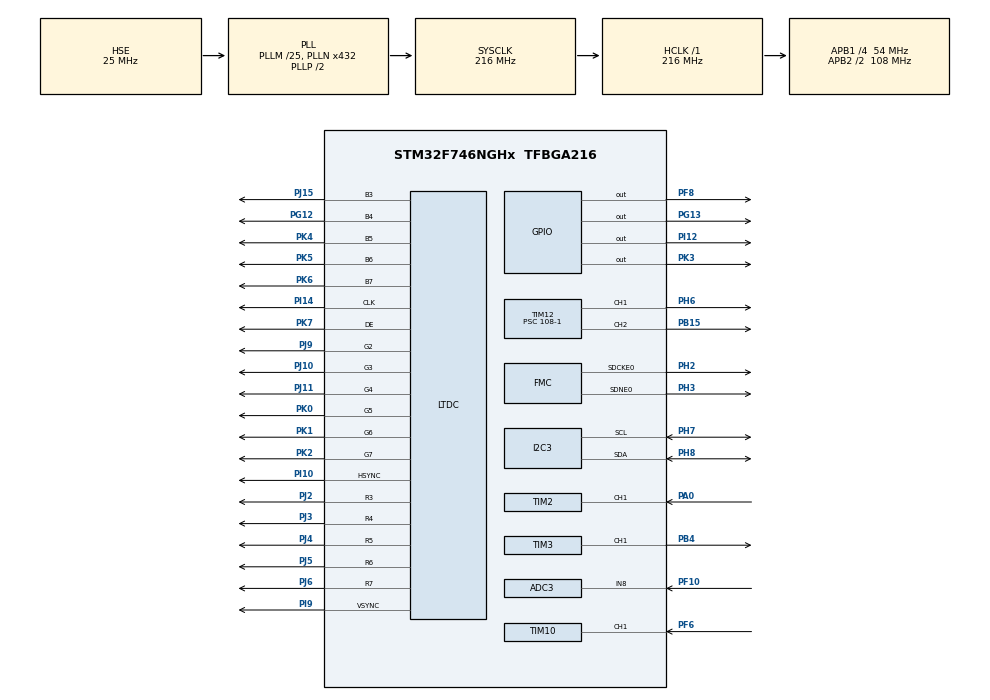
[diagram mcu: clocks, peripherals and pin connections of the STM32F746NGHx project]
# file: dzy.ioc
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ADC3.Channel-0\#ChannelRegularConversion=ADC_CHANNEL_8
ADC3.ExternalTrigConv=ADC_EXTERNALTRIGCONV_T1_CC1
ADC3.NbrOfConversionFlag=1
ADC3.Rank-0\#ChannelRegularConversion=1
ADC3.SamplingTime-0\#ChannelRegularConversion=ADC_SAMPLETIME_3CYCLES
GRAPHICS.BSP.number=1
GRAPHICS.Check_OTM8009A_PixelFormat-STemWin=1
GRAPHICS.DMA2D_Graphics-STemWin=0
GRAPHICS.EA_1_Apptype=Window
GRAPHICS.EA_1_executable_name-STemWin=GUIBuilder.exe
GRAPHICS.GUI_NUM_LAYERS-STemWin=1
GRAPHICS.GUI_Num_KBYTES=10
GRAPHICS.LIN_Color_Conversion_Layer0=GUICC_M565
GRAPHICS.LIN_Frame_Buffer_Depth_Layer0-STemWin=16
GRAPHICS.OPTIM_OS_use-STemWin=4
GRAPHICS.USE_Embedded_Wizard-STemWin=0
GRAPHICS.USE_STTouchGFX-STemWin=0
GRAPHICS.UseGUIBuilder=Enabled
GRAPHICS.Use_SDRAM-STemWin=SDRAM1_BANK1
GRAPHICS0.BSP.STBoard=false
GRAPHICS0.BSP.api=Unknown
GRAPHICS0.BSP.i2caddr=0
GRAPHICS0.BSP.instance=PG13
GRAPHICS0.BSP.ip=GPIO
GRAPHICS0.BSP.mode=Output
GRAPHICS0.BSP.name=LCD Reset Pin XRES
GRAPHICS0.BSP.solution=PG13
I2C3.Timing=0x20404768
LTDC.ActiveH=272
LTDC.ActiveW=480
LTDC.Alpha_L0=255
LTDC.FBStartAdress_L0=0x20010400
LTDC.HBP=43
LTDC.HFP=8
LTDC.HSync=1
LTDC.ImageHeight_L0=272
LTDC.ImageWidth_L0=480
LTDC.Layers=0
LTDC.PixelFormat_L0=LTDC_PIXEL_FORMAT_RGB565
LTDC.VBP=12
LTDC.VFP=4
LTDC.VSync=10
LTDC.WindowX1_L0=480
LTDC.WindowY1_L0=272
Mcu.Family=STM32F7
Mcu.Name=STM32F746NGHx
Mcu.Package=TFBGA216
NVIC.ADC_IRQn=true\:3\:0\:true\:false\:true\:true\:true
NVIC.PriorityGroup=NVIC_PRIORITYGROUP_4
NVIC.TIM1_UP_TIM10_IRQn=true\:0\:0\:false\:false\:true\:true\:true
NVIC.TIM2_IRQn=true\:0\:0\:true\:false\:true\:true\:true
NVIC.TIM5_IRQn=true\:0\:0\:false\:false\:true\:true\:true
PA0/WKUP.Signal=S_TIM2_CH1_ETR
PA13.Mode=Trace_Asynchronous_SW
PA13.Signal=SYS_JTMS-SWDIO
PA14.Mode=Trace_Asynchronous_SW
PA14.Signal=SYS_JTCK-SWCLK
PB15.Signal=S_TIM12_CH2
PB3.Mode=Trace_Asynchronous_SW
PB3.Signal=SYS_JTDO-SWO
PB4.Signal=S_TIM3_CH1
PF10.Mode=IN8
PF10.Signal=ADC3_IN8
PF6.GPIO_PuPd=GPIO_NOPULL
PF6.Signal=S_TIM10_CH1
PF8.GPIO_PuPd=GPIO_PULLUP
PF8.PinState=GPIO_PIN_SET
PF8.Signal=GPIO_Output
PG12.Mode=RGB565
PG12.Signal=LTDC_B4
PG13.Signal=GPIO_Output
PH0/OSC_IN.Mode=HSE-External-Oscillator
PH0/OSC_IN.Signal=RCC_OSC_IN
PH1/OSC_OUT.Mode=HSE-External-Oscillator
PH1/OSC_OUT.Signal=RCC_OSC_OUT
PH2.Mode=SdramChipSelect1_1
PH2.Signal=FMC_SDCKE0
PH3.Mode=SdramChipSelect1_1
PH3.Signal=FMC_SDNE0
PH6.Signal=S_TIM12_CH1
PH7.Mode=I2C
PH7.Signal=I2C3_SCL
PH8.Mode=I2C
PH8.Signal=I2C3_SDA
PI10.Mode=RGB565
PI10.Signal=LTDC_HSYNC
PI12.PinState=GPIO_PIN_SET
PI12.Signal=GPIO_Output
PI14.Mode=RGB565
PI14.Signal=LTDC_CLK
PI9.Mode=RGB565
PI9.Signal=LTDC_VSYNC
PJ10.Mode=RGB565
PJ10.Signal=LTDC_G3
PJ11.Mode=RGB565
PJ11.Signal=LTDC_G4
PJ15.Mode=RGB565
PJ15.Signal=LTDC_B3
PJ2.Mode=RGB565
PJ2.Signal=LTDC_R3
PJ3.Mode=RGB565
PJ3.Signal=LTDC_R4
PJ4.Mode=RGB565
PJ4.Signal=LTDC_R5
PJ5.Mode=RGB565
PJ5.Signal=LTDC_R6
PJ6.Mode=RGB565
PJ6.Signal=LTDC_R7
PJ9.Mode=RGB565
PJ9.Signal=LTDC_G2
PK0.Mode=RGB565
PK0.Signal=LTDC_G5
PK1.Mode=RGB565
PK1.Signal=LTDC_G6
PK2.Mode=RGB565
PK2.Signal=LTDC_G7
PK3.PinState=GPIO_PIN_SET
PK3.Signal=GPIO_Output
PK4.Mode=RGB565
PK4.Signal=LTDC_B5
PK5.Mode=RGB565
PK5.Signal=LTDC_B6
PK6.Mode=RGB565
PK6.Signal=LTDC_B7
PK7.Mode=RGB565
PK7.Signal=LTDC_DE
ProjectManager.HeapSize=0x1000
ProjectManager.StackSize=0x1000
ProjectManager.TargetToolchain=EWARM V8
RCC.AHBFreq_Value=216000000
RCC.APB1CLKDivider=RCC_HCLK_DIV4
RCC.APB1Freq_Value=54000000
RCC.APB1TimFreq_Value=108000000
RCC.APB2CLKDivider=RCC_HCLK_DIV2
RCC.APB2Freq_Value=108000000
RCC.APB2TimFreq_Value=216000000
RCC.CortexFreq_Value=216000000
RCC.HCLKFreq_Value=216000000
RCC.HSE_VALUE=25000000
RCC.HSI_VALUE=16000000
RCC.LSE_VALUE=32768
RCC.PLLM=25
RCC.PLLN=432
RCC.PLLSAIN=100
RCC.PLLSAIR=5
RCC.PLLSourceVirtual=RCC_PLLSOURCE_HSE
RCC.SYSCLKFreq_VALUE=216000000
RCC.SYSCLKSource=RCC_SYSCLKSOURCE_PLLCLK
RCC.USBFreq_Value=216000000
RCC.VCOOutputFreq_Value=432000000
RTC.Format=RTC_FORMAT_BIN
SH.S_TIM10_CH1.0=TIM10_CH1,Input_Capture1_from_TI1
SH.S_TIM12_CH1.0=TIM12_CH1,PWM Generation1 CH1
SH.S_TIM12_CH2.0=TIM12_CH2,PWM Generation2 CH2
SH.S_TIM2_CH1_ETR.0=TIM2_CH1,Input_Capture1_from_TI1
SH.S_TIM2_CH1_ETR.1=TIM2_CH1,Input_Capture2_from_TI1
SH.S_TIM2_CH1_ETR.2=TIM2_CH1,TriggerSource_TI1FP1
SH.S_TIM3_CH1.0=TIM3_CH1,PWM Generation1 CH1
TIM1.Channel-PWM\ Generation1\ No\ Output=TIM_CHANNEL_1
TIM1.Period=1000-1
TIM1.Prescaler=108-1
TIM1.Pulse-PWM\ Generation1\ No\ Output=10
TIM10.Channel=TIM_CHANNEL_1
TIM10.ICPolarity_CH1=TIM_INPUTCHANNELPOLARITY_FALLING
TIM10.Period=1000-1
TIM10.Prescaler=108-1
TIM12.Channel-PWM\ Generation1\ CH1=TIM_CHANNEL_1
TIM12.Channel-PWM\ Generation2\ CH2=TIM_CHANNEL_2
TIM12.Period=1000-1
TIM12.Prescaler=108-1
TIM12.Pulse-PWM\ Generation1\ CH1=0
TIM2.Channel-Input_Capture1_from_TI1=TIM_CHANNEL_1
TIM2.Channel-Input_Capture2_from_TI1=TIM_CHANNEL_2
TIM2.ICPolarity_CH1=TIM_INPUTCHANNELPOLARITY_FALLING
TIM2.Period=0xFFFF
TIM2.Prescaler=108-1
TIM3.Channel-PWM\ Generation1\ CH1=TIM_CHANNEL_1
TIM3.Period=1000-1
TIM3.Prescaler=108-1
TIM3.Pulse-PWM\ Generation1\ CH1=400
TIM5.Period=10000 * 2
TIM5.Prescaler=10800-1
VP_CRC_VS_CRC.Mode=CRC_Activate
VP_GRAPHICS_VS-DisplayInterface-LTDC.Mode=Display Parallel Interface using LTDC
VP_GRAPHICS_VS-STemWin.Mode=STemWin
VP_RTC_VS_RTC_Activate.Mode=RTC_Enabled
VP_RTC_VS_RTC_Calendar.Mode=RTC_Calendar
VP_TIM10_VS_ClockSourceINT.Mode=Enable_Timer
VP_TIM11_VS_ClockSourceINT.Mode=Enable_Timer
VP_TIM12_VS_ClockSourceINT.Mode=Internal
VP_TIM1_VS_ClockSourceINT.Mode=Internal
VP_TIM1_VS_no_output1.Mode=PWM Generation1 No Output
VP_TIM2_VS_ClockSourceINT.Mode=Internal
VP_TIM2_VS_ControllerModeReset.Mode=Reset Mode
VP_TIM3_VS_ClockSourceINT.Mode=Internal
VP_TIM5_VS_ClockSourceINT.Mode=Internal
board=custom

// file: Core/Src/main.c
/* USER CODE BEGIN Header */
/**
******************************************************************************
* @file           : main.c
* @brief          : Main program body
******************************************************************************
* @attention
*
* <h2><center>&copy; Copyright (c) 2020 STMicroelectronics.
* All rights reserved.</center></h2>
*
* This software component is licensed by ST under Ultimate Liberty license
* SLA0044, the "License"; You may not use this file except in compliance with
* the License. You may obtain a copy of the License at:
*                             www.st.com/SLA0044
*
******************************************************************************
*/
/* USER CODE END Header */

#include "main.h"

/* USER CODE BEGIN Includes */

/***********************************************************************2020.10.26改动说明——————孙天一 begin************************************************************************************
* STM32CubeMax：
*       工程重建，配置了工程文件选项：主要包括基础配置以及RTC、FMC、I2C3和LTDC以及GRAPHICS
* IAR:
*       因程序走入死循环且诊断不出问题所在，重新开始工程和程序编写。
************************************************************************2020.10.26改动说明——————孙天一 end************************************************************************************/
/***********************************************************************2020.10.27改动说明——————高成鑫************************************************************************************
*STM32CubeMax:
*       ADC1进行了初始化---------------配置使用TIM2作为外部时钟源，具体配置如Img文件夹下20201027_023549_ADC1_Temp.png所示
                                        图中未体现开启中断
*IAR今日改动位置：*************************************************************************************************************************************************************************
*main.c:
*       USER CODE BEGIN PD---------------1.
*       USER CODE BEGIN PV---------------2.增添了在使用IN0测量时使用的全局变量
*       USER CODE BEGIN 0----------------3.使用IN0时候的回调函数，温度计算公式正确性待检验
*       USER CODE BEGIN 2----------------4.开启定时器TIM2以及ADC的中断
*其他说明：
*       缩进的printf表示调试过程中查看变量使用的，在正式使用中要被注释掉
************************************************************************************************************************************************************************************************/

/***********************************************************************2020.10.28改动说明——————高成鑫************************************************************************************
*STM32CubeMax:
*       ADC更改，ADC1IN0改ADC3IN8--------为了便于实时测量温度，使用了外部的模拟温度传感器，不再使用IN18的temperature传感器，删除了相关的程序
                                        将外部传感器的插口进行了更改，现在使用ADC3的IN8口作为输入，（对应扩展板上的A1位置），现在使用TIM1作为比较时钟
*       TIM1用作外部触发中断源---------External Trigger Conversion Source，配置同之前的TIM2相同
*       TIM2更改-------------------------现在将TIM2作为输入捕获使用，chanal1 chanal2分别为主从模式，用于捕获下降沿和上升沿
*       相关的配置情况如Image文件夹中20201028_161138_ADC3.png、20201028_161349_TIM1_1.png、20201028_161445_TIM1_2.png、20201028_161532_TIM2.png所示
*IAR今日改动位置：*************************************************************************************************************************************************************************
*main.c:
*       USER CODE BEGIN PV---------------1.增添了在输入捕获时候使用的全局变量
*       USER CODE BEGIN 0----------------2.输入捕获的回调函数
*       USER CODE BEGIN 2----------------3.开启定时器TIM2通道1和2输入捕获的中断（最终使用的只有TIM2 Channal1的中断）
*其他说明：
*       缩进的printf表示调试过程中查看变量使用的，在正式使用中要被注释掉
************************************************************************************************************************************************************************************************/

/**********************************************************************2020.10.29改动说明——————孙天一 begin********************************************************************************
*STM32CubeMax:
*       FMC、CRC模块功能开启------------为开启STemWin做准备，无需更多配置
*       LTDC模块功能开启---------------开启液晶屏控制器LTDC，为节省内存使用RGB565，场同步、行同步、前向纠错时间、后向纠错时间等根据手册配置相关参数，修改GPIO口，如图2020.10.29_LTDC_Parameter_Settings、20201029_125900_Layer_Setting.png、20201029_125943_GPIO_Setting.png所示
*       Graphics功能开启---------------使用STemWin绘制窗口，使用PG13，设置为Output模式作为LCD的复位管教，由STemWin来接管，其他配置如20201029_130312_Graphics.png所示
*       I2C功能开启--------------------使用I2C总线来控制屏幕触摸，修改板上I2C3对应的GPIO口，PH7为SCL，PH8为SDA，设置为快速模式
*IAR今日改动位置：*************************************************************************************************************************************************************************
*main.c:
*       USER CODE BEGIN PFP--------------1.触碰检测函数的声明，
*       USER CODE BEGIN 0----------------2.触碰检测函数的定义，向触摸屏驱动传递坐标
                                        checkTouch[]是触摸点位置的数组，ch[0]为触点个数，ch[2] ch[3]为y坐标，ch[4] ch[5]为x坐标
*GUI_App.c:
*       USER CODE BEGIN GRAPHICS_MainTask-----1.将原来的Hello World程序注释掉，将while(1)循环提前，在里面写如触摸检测程序
*WindowDLG.c:
*       USER START (Optionally insert additional static code)----1.定义的设置风速、温度、模式的全局变量
*       对三个按钮Button0~3触碰的回调函数编写
*其他说明：
*       缩进的printf表示调试过程中查看变量使用的，在正式使用中要被注释掉
*       变量名大写的表示字符串，小写的表示普通变量
***********************************************************************2020.10.29改动说明——————孙天一 end***********************************************************************************/

/**********************************************************************2020.10.30改动说明——————高成鑫 begin********************************************************************************
*STM32CubeMax:
*       TIM3_CH2、TIM12_CH1、TIM12_CH2开启-----设置为PWM输出模式，预分频器与技术周期设置为108-1与1000-1,使频率为1KHz，Pulse黄灯初始值设置为400，红蓝为0
                                            如20201030_105006_TIM3_TIM12.png所示，修改对应GPIO口
*IAR今日改动位置：*************************************************************************************************************************************************************************
*main.c:
*       USER CODE BEGIN PTD--------------1.对开关状态的宏定义，用于对于红外命令较多时候的便于识别
*       USER CODE BEGIN PV---------------2.对开关状态的定义，对温度设定、风速设定、模式设定的外部定义引入
*       USER CODE BEGIN 2----------------3.开启两个定时器的三个Channel口PWM输出
*       USER CODE BEGIN 0----------------4.在2020.10.28-2的红外中断函数中，加入了对红外解码的处理，可以使用遥控器控制开关机、风速、温度、空调工作模式
*WindowDLG.c:
*       USER START (Optionally insert additional message handling)----1.在RTC时钟的回调函数里面，添加根据风速、温度设置对LED指示灯改变的命令，实现空调变频
                                          在RTC的回调函数中，添加对空调开关状态的处理，通过改变PK3的电平状态实现，刷新温度、风速、模式显示
*其他说明：
*       缩进的printf表示调试过程中查看变量使用的，在正式使用中要被注释掉
*       变量名大写的表示字符串，小写的表示普通变量
***********************************************************************2020.10.30改动说明——————高成鑫 end***********************************************************************************/

/**********************************************************************2020.10.31改动说明——————高成鑫 begin********************************************************************************
*main.c
*       USER CODE BEGIN 0----------------1.将所有中断回调函数及相关的变量定义，从main.c中移动到了stm32f7xx_it.c中，保持main.c的简单易读
*stm32f7xx_it.c
*       USER CODE BEGIN PD---------------2.移动了对开关状态的宏定义
*       USER CODE BEGIN PV---------------3.对AD和红外解码中断函数中使用的全局变量的定义
*       USER CODE BEGIN 1----------------4.AD采样和红外接收中断的回调函数
***********************************************************************2020.10.31改动说明——————高成鑫 end***********************************************************************************/

#include <stdio.h>

/* USER CODE END Includes */

ADC_HandleTypeDef hadc3;

CRC_HandleTypeDef hcrc;

I2C_HandleTypeDef hi2c3;

RTC_HandleTypeDef hrtc;

TIM_HandleTypeDef htim1;
TIM_HandleTypeDef htim2;
TIM_HandleTypeDef htim3;
TIM_HandleTypeDef htim5;
TIM_HandleTypeDef htim10;
TIM_HandleTypeDef htim11;
TIM_HandleTypeDef htim12;

/* USER CODE BEGIN PV */
double temper_digital;                                  //DHT11 测量结果
double humi_digital;
double temper_analog;                                     //模拟温度测量结果
uint8_t ch1_decode[14];                                 //红外解码结果
#define SWITCH_ON 200
int menu = SWITCH_ON;                                   //红外命令情况
/* USER CODE END PV */

void SystemClock_Config(void);
static void MX_GPIO_Init(void);
static void MX_I2C3_Init(void);
static void MX_RTC_Init(void);
static void MX_CRC_Init(void);
extern void GRAPHICS_HW_Init(void);
extern void GRAPHICS_Init(void);
extern void GRAPHICS_MainTask(void);
static void MX_ADC3_Init(void);
static void MX_TIM1_Init(void);
static void MX_TIM2_Init(void);
static void MX_TIM3_Init(void);
static void MX_TIM12_Init(void);
static void MX_TIM10_Init(void);
static void MX_TIM11_Init(void);
static void MX_TIM5_Init(void);

/* USER CODE BEGIN 0 */

/***********************************************************************2020.10.29改动——————孙天一 2 start************************************************************************************/

void checkTouch(void)
{
  uint8_t buf[6];
  HAL_I2C_Mem_Read(&hi2c3, 0x70, 0x02, 1, buf, 1, 1000);
  //printf("Touch: %d point\n", buf[0]);

  if(buf[0] > 0 && buf[0] < 6)
  {
    HAL_I2C_Mem_Read(&hi2c3, 0x70, 0x03, 1, buf, 4, 1000);
    //printf("y: %d\n", (buf[0]<<8 | buf[1]) & 0x0fff);
    //printf("x: %d\n", (buf[2]<<8 | buf[3]) & 0x0fff);
    GUI_TOUCH_StoreState((buf[2]<<8 | buf[3]) & 0x0fff, (buf[0]<<8 | buf[1]) & 0x0fff);
  }
  else
  {
    GUI_TOUCH_StoreState(-1, -1);
  }
}
/***********************************************************************2020.10.29改动——————孙天一 2 end**************************************************************************************/
/* USER CODE END 0 */

int main(void)
{

  /* MCU Configuration--------------------------------------------------------*/

  /* Reset of all peripherals, Initializes the Flash interface and the Systick. */
  HAL_Init();

  /* Configure the system clock */
  SystemClock_Config();

  /* Initialize all configured peripherals */
  MX_GPIO_Init();
  MX_I2C3_Init();
  MX_RTC_Init();
  MX_CRC_Init();
  MX_ADC3_Init();
  MX_TIM1_Init();
  MX_TIM2_Init();
  MX_TIM3_Init();
  MX_TIM12_Init();
  MX_TIM10_Init();
  MX_TIM11_Init();
  MX_TIM5_Init();
  /* USER CODE BEGIN 2 */

/***********************************************************************2020.10.26改动——————高成鑫 4 start************************************************************************************/
  HAL_TIM_PWM_Start(&htim1, TIM_CHANNEL_1);
  HAL_ADC_Start_IT(&hadc3);
/***********************************************************************2020.10.26改动——————高成鑫 4 end**************************************************************************************/

/***********************************************************************2020.10.28改动——————高成鑫 3 start************************************************************************************/
  HAL_TIM_IC_Start_IT(&htim2, TIM_CHANNEL_1);
  HAL_TIM_IC_Start_IT(&htim2, TIM_CHANNEL_2);
/***********************************************************************2020.10.28改动——————高成鑫 3 end**************************************************************************************/

/***********************************************************************2020.10.30改动——————高成鑫 3 start************************************************************************************/
  HAL_TIM_PWM_Start(&htim3, TIM_CHANNEL_1);                     //对应黄色风速灯
  HAL_TIM_PWM_Start(&htim12, TIM_CHANNEL_1);                     //对应蓝色制冷灯
  HAL_TIM_PWM_Start(&htim12, TIM_CHANNEL_2);                     //对应红色制热灯
/***********************************************************************2020.10.30改动——————高成鑫 3 end**************************************************************************************/

/***********************************************************************2020.10.28改动——————高成鑫 3 start************************************************************************************/
  HAL_TIM_Base_Start_IT(&htim5);
/***********************************************************************2020.10.28改动——————高成鑫 3 end**************************************************************************************/

  /* USER CODE END 2 */

/* Initialise the graphical hardware */
  GRAPHICS_HW_Init();

  /* Initialise the graphical stack engine */
  GRAPHICS_Init();

  /* Graphic application */
  GRAPHICS_MainTask();

  /* Infinite loop */
  for(;;);
}

void SystemClock_Config(void)
{
  RCC_OscInitTypeDef RCC_OscInitStruct = {0};
  RCC_ClkInitTypeDef RCC_ClkInitStruct = {0};
  RCC_PeriphCLKInitTypeDef PeriphClkInitStruct = {0};

  /** Configure the main internal regulator output voltage
  */
  __HAL_RCC_PWR_CLK_ENABLE();
  __HAL_PWR_VOLTAGESCALING_CONFIG(PWR_REGULATOR_VOLTAGE_SCALE1);
  /** Initializes the CPU, AHB and APB busses clocks
  */
  RCC_OscInitStruct.OscillatorType = RCC_OSCILLATORTYPE_LSI|RCC_OSCILLATORTYPE_HSE;
  RCC_OscInitStruct.HSEState = RCC_HSE_ON;
  RCC_OscInitStruct.LSIState = RCC_LSI_ON;
  RCC_OscInitStruct.PLL.PLLState = RCC_PLL_ON;
  RCC_OscInitStruct.PLL.PLLSource = RCC_PLLSOURCE_HSE;
  RCC_OscInitStruct.PLL.PLLM = 25;
  RCC_OscInitStruct.PLL.PLLN = 432;
  RCC_OscInitStruct.PLL.PLLP = RCC_PLLP_DIV2;
  RCC_OscInitStruct.PLL.PLLQ = 2;
  if (HAL_RCC_OscConfig(&RCC_OscInitStruct) != HAL_OK)
  {
    Error_Handler();
  }
  /** Activate the Over-Drive mode
  */
  if (HAL_PWREx_EnableOverDrive() != HAL_OK)
  {
    Error_Handler();
  }
  /** Initializes the CPU, AHB and APB busses clocks
  */
  RCC_ClkInitStruct.ClockType = RCC_CLOCKTYPE_HCLK|RCC_CLOCKTYPE_SYSCLK
                              |RCC_CLOCKTYPE_PCLK1|RCC_CLOCKTYPE_PCLK2;
  RCC_ClkInitStruct.SYSCLKSource = RCC_SYSCLKSOURCE_PLLCLK;
  RCC_ClkInitStruct.AHBCLKDivider = RCC_SYSCLK_DIV1;
  RCC_ClkInitStruct.APB1CLKDivider = RCC_HCLK_DIV4;
  RCC_ClkInitStruct.APB2CLKDivider = RCC_HCLK_DIV2;

  if (HAL_RCC_ClockConfig(&RCC_ClkInitStruct, FLASH_LATENCY_7) != HAL_OK)
  {
    Error_Handler();
  }
  PeriphClkInitStruct.PeriphClockSelection = RCC_PERIPHCLK_LTDC|RCC_PERIPHCLK_RTC
                              |RCC_PERIPHCLK_I2C3;
  PeriphClkInitStruct.PLLSAI.PLLSAIN = 100;
  PeriphClkInitStruct.PLLSAI.PLLSAIR = 5;
  PeriphClkInitStruct.PLLSAI.PLLSAIQ = 2;
  PeriphClkInitStruct.PLLSAI.PLLSAIP = RCC_PLLSAIP_DIV2;
  PeriphClkInitStruct.PLLSAIDivQ = 1;
  PeriphClkInitStruct.PLLSAIDivR = RCC_PLLSAIDIVR_2;
  PeriphClkInitStruct.RTCClockSelection = RCC_RTCCLKSOURCE_LSI;
  PeriphClkInitStruct.I2c3ClockSelection = RCC_I2C3CLKSOURCE_PCLK1;
  if (HAL_RCCEx_PeriphCLKConfig(&PeriphClkInitStruct) != HAL_OK)
  {
    Error_Handler();
  }
}

static void MX_ADC3_Init(void)
{

  ADC_ChannelConfTypeDef sConfig = {0};

  /** Configure the global features of the ADC (Clock, Resolution, Data Alignment and number of conversion)
  */
  hadc3.Instance = ADC3;
  hadc3.Init.ClockPrescaler = ADC_CLOCK_SYNC_PCLK_DIV4;
  hadc3.Init.Resolution = ADC_RESOLUTION_12B;
  hadc3.Init.ScanConvMode = ADC_SCAN_DISABLE;
  hadc3.Init.ContinuousConvMode = DISABLE;
  hadc3.Init.DiscontinuousConvMode = DISABLE;
  hadc3.Init.ExternalTrigConvEdge = ADC_EXTERNALTRIGCONVEDGE_RISING;
  hadc3.Init.ExternalTrigConv = ADC_EXTERNALTRIGCONV_T1_CC1;
  hadc3.Init.DataAlign = ADC_DATAALIGN_RIGHT;
  hadc3.Init.NbrOfConversion = 1;
  hadc3.Init.DMAContinuousRequests = DISABLE;
  hadc3.Init.EOCSelection = ADC_EOC_SINGLE_CONV;
  if (HAL_ADC_Init(&hadc3) != HAL_OK)
  {
    Error_Handler();
  }
  /** Configure for the selected ADC regular channel its corresponding rank in the sequencer and its sample time.
  */
  sConfig.Channel = ADC_CHANNEL_8;
  sConfig.Rank = ADC_REGULAR_RANK_1;
  sConfig.SamplingTime = ADC_SAMPLETIME_3CYCLES;
  if (HAL_ADC_ConfigChannel(&hadc3, &sConfig) != HAL_OK)
  {
    Error_Handler();
  }

}

static void MX_CRC_Init(void)
{

  hcrc.Instance = CRC;
  hcrc.Init.DefaultPolynomialUse = DEFAULT_POLYNOMIAL_ENABLE;
  hcrc.Init.DefaultInitValueUse = DEFAULT_INIT_VALUE_ENABLE;
  hcrc.Init.InputDataInversionMode = CRC_INPUTDATA_INVERSION_NONE;
  hcrc.Init.OutputDataInversionMode = CRC_OUTPUTDATA_INVERSION_DISABLE;
  hcrc.InputDataFormat = CRC_INPUTDATA_FORMAT_BYTES;
  if (HAL_CRC_Init(&hcrc) != HAL_OK)
  {
    Error_Handler();
  }

}

static void MX_I2C3_Init(void)
{

  hi2c3.Instance = I2C3;
  hi2c3.Init.Timing = 0x20404768;
  hi2c3.Init.OwnAddress1 = 0;
  hi2c3.Init.AddressingMode = I2C_ADDRESSINGMODE_7BIT;
  hi2c3.Init.DualAddressMode = I2C_DUALADDRESS_DISABLE;
  hi2c3.Init.OwnAddress2 = 0;
  hi2c3.Init.OwnAddress2Masks = I2C_OA2_NOMASK;
  hi2c3.Init.GeneralCallMode = I2C_GENERALCALL_DISABLE;
  hi2c3.Init.NoStretchMode = I2C_NOSTRETCH_DISABLE;
  if (HAL_I2C_Init(&hi2c3) != HAL_OK)
  {
    Error_Handler();
  }
  /** Configure Analogue filter
  */
  if (HAL_I2CEx_ConfigAnalogFilter(&hi2c3, I2C_ANALOGFILTER_ENABLE) != HAL_OK)
  {
    Error_Handler();
  }
  /** Configure Digital filter
  */
  if (HAL_I2CEx_ConfigDigitalFilter(&hi2c3, 0) != HAL_OK)
  {
    Error_Handler();
  }

}

static void MX_RTC_Init(void)
{

  /* USER CODE BEGIN RTC_Init 0 */
  //RTC参数设置

  /* USER CODE END RTC_Init 0 */

  RTC_TimeTypeDef sTime = {0};
  RTC_DateTypeDef sDate = {0};

  /** Initialize RTC Only
  */
  hrtc.Instance = RTC;
  hrtc.Init.HourFormat = RTC_HOURFORMAT_24;
  hrtc.Init.AsynchPrediv = 127;
  hrtc.Init.SynchPrediv = 255;
  hrtc.Init.OutPut = RTC_OUTPUT_DISABLE;
  hrtc.Init.OutPutPolarity = RTC_OUTPUT_POLARITY_HIGH;
  hrtc.Init.OutPutType = RTC_OUTPUT_TYPE_OPENDRAIN;
  if (HAL_RTC_Init(&hrtc) != HAL_OK)
  {
    Error_Handler();
  }

  /** Initialize RTC and set the Time and Date
  */
  sTime.Hours = 0;
  sTime.Minutes = 0;
  sTime.Seconds = 0;
  sTime.DayLightSaving = RTC_DAYLIGHTSAVING_NONE;
  sTime.StoreOperation = RTC_STOREOPERATION_RESET;
  if (HAL_RTC_SetTime(&hrtc, &sTime, RTC_FORMAT_BIN) != HAL_OK)
  {
    Error_Handler();
  }
  sDate.WeekDay = RTC_WEEKDAY_MONDAY;
  sDate.Month = RTC_MONTH_JANUARY;
  sDate.Date = 1;
  sDate.Year = 0;
  if (HAL_RTC_SetDate(&hrtc, &sDate, RTC_FORMAT_BIN) != HAL_OK)
  {
    Error_Handler();
  }
  /* USER CODE BEGIN RTC_Init 2 */

  //设置RTC定时时间1s
  if(HAL_RTCEx_SetWakeUpTimer_IT(&hrtc,1,RTC_WAKEUPCLOCK_CK_SPRE_16BITS)!=HAL_OK)
  {
    Error_Handler();
  }
  /* USER CODE END RTC_Init 2 */

}

static void MX_TIM1_Init(void)
{

  TIM_ClockConfigTypeDef sClockSourceConfig = {0};
  TIM_MasterConfigTypeDef sMasterConfig = {0};
  TIM_OC_InitTypeDef sConfigOC = {0};
  TIM_BreakDeadTimeConfigTypeDef sBreakDeadTimeConfig = {0};

  htim1.Instance = TIM1;
  htim1.Init.Prescaler = 108-1;
  htim1.Init.CounterMode = TIM_COUNTERMODE_UP;
  htim1.Init.Period = 1000-1;
  htim1.Init.ClockDivision = TIM_CLOCKDIVISION_DIV1;
  htim1.Init.RepetitionCounter = 0;
  htim1.Init.AutoReloadPreload = TIM_AUTORELOAD_PRELOAD_DISABLE;
  if (HAL_TIM_Base_Init(&htim1) != HAL_OK)
  {
    Error_Handler();
  }
  sClockSourceConfig.ClockSource = TIM_CLOCKSOURCE_INTERNAL;
  if (HAL_TIM_ConfigClockSource(&htim1, &sClockSourceConfig) != HAL_OK)
  {
    Error_Handler();
  }
  if (HAL_TIM_PWM_Init(&htim1) != HAL_OK)
  {
    Error_Handler();
  }
  sMasterConfig.MasterOutputTrigger = TIM_TRGO_RESET;
  sMasterConfig.MasterOutputTrigger2 = TIM_TRGO2_RESET;
  sMasterConfig.MasterSlaveMode = TIM_MASTERSLAVEMODE_DISABLE;
  if (HAL_TIMEx_MasterConfigSynchronization(&htim1, &sMasterConfig) != HAL_OK)
  {
    Error_Handler();
  }
  sConfigOC.OCMode = TIM_OCMODE_PWM1;
  sConfigOC.Pulse = 10;
  sConfigOC.OCPolarity = TIM_OCPOLARITY_HIGH;
  sConfigOC.OCNPolarity = TIM_OCNPOLARITY_HIGH;
  sConfigOC.OCFastMode = TIM_OCFAST_DISABLE;
  sConfigOC.OCIdleState = TIM_OCIDLESTATE_RESET;
  sConfigOC.OCNIdleState = TIM_OCNIDLESTATE_RESET;
  if (HAL_TIM_PWM_ConfigChannel(&htim1, &sConfigOC, TIM_CHANNEL_1) != HAL_OK)
  {
    Error_Handler();
  }
  sBreakDeadTimeConfig.OffStateRunMode = TIM_OSSR_DISABLE;
  sBreakDeadTimeConfig.OffStateIDLEMode = TIM_OSSI_DISABLE;
  sBreakDeadTimeConfig.LockLevel = TIM_LOCKLEVEL_OFF;
  sBreakDeadTimeConfig.DeadTime = 0;
  sBreakDeadTimeConfig.BreakState = TIM_BREAK_DISABLE;
  sBreakDeadTimeConfig.BreakPolarity = TIM_BREAKPOLARITY_HIGH;
  sBreakDeadTimeConfig.BreakFilter = 0;
  sBreakDeadTimeConfig.Break2State = TIM_BREAK2_DISABLE;
  sBreakDeadTimeConfig.Break2Polarity = TIM_BREAK2POLARITY_HIGH;
  sBreakDeadTimeConfig.Break2Filter = 0;
  sBreakDeadTimeConfig.AutomaticOutput = TIM_AUTOMATICOUTPUT_DISABLE;
  if (HAL_TIMEx_ConfigBreakDeadTime(&htim1, &sBreakDeadTimeConfig) != HAL_OK)
  {
    Error_Handler();
  }

}

static void MX_TIM2_Init(void)
{

  TIM_ClockConfigTypeDef sClockSourceConfig = {0};
  TIM_SlaveConfigTypeDef sSlaveConfig = {0};
  TIM_MasterConfigTypeDef sMasterConfig = {0};
  TIM_IC_InitTypeDef sConfigIC = {0};

  htim2.Instance = TIM2;
  htim2.Init.Prescaler = 108-1;
  htim2.Init.CounterMode = TIM_COUNTERMODE_UP;
  htim2.Init.Period = 0xFFFF;
  htim2.Init.ClockDivision = TIM_CLOCKDIVISION_DIV1;
  htim2.Init.AutoReloadPreload = TIM_AUTORELOAD_PRELOAD_DISABLE;
  if (HAL_TIM_Base_Init(&htim2) != HAL_OK)
  {
    Error_Handler();
  }
  sClockSourceConfig.ClockSource = TIM_CLOCKSOURCE_INTERNAL;
  if (HAL_TIM_ConfigClockSource(&htim2, &sClockSourceConfig) != HAL_OK)
  {
    Error_Handler();
  }
  if (HAL_TIM_IC_Init(&htim2) != HAL_OK)
  {
    Error_Handler();
  }
  sSlaveConfig.SlaveMode = TIM_SLAVEMODE_RESET;
  sSlaveConfig.InputTrigger = TIM_TS_TI1FP1;
  sSlaveConfig.TriggerPolarity = TIM_INPUTCHANNELPOLARITY_FALLING;
  sSlaveConfig.TriggerFilter = 0;
  if (HAL_TIM_SlaveConfigSynchro(&htim2, &sSlaveConfig) != HAL_OK)
  {
    Error_Handler();
  }
  sMasterConfig.MasterOutputTrigger = TIM_TRGO_RESET;
  sMasterConfig.MasterSlaveMode = TIM_MASTERSLAVEMODE_DISABLE;
  if (HAL_TIMEx_MasterConfigSynchronization(&htim2, &sMasterConfig) != HAL_OK)
  {
    Error_Handler();
  }
  sConfigIC.ICPolarity = TIM_INPUTCHANNELPOLARITY_FALLING;
  sConfigIC.ICSelection = TIM_ICSELECTION_DIRECTTI;
  sConfigIC.ICPrescaler = TIM_ICPSC_DIV1;
  sConfigIC.ICFilter = 0;
  if (HAL_TIM_IC_ConfigChannel(&htim2, &sConfigIC, TIM_CHANNEL_1) != HAL_OK)
  {
    Error_Handler();
  }
  sConfigIC.ICPolarity = TIM_INPUTCHANNELPOLARITY_RISING;
  sConfigIC.ICSelection = TIM_ICSELECTION_INDIRECTTI;
  if (HAL_TIM_IC_ConfigChannel(&htim2, &sConfigIC, TIM_CHANNEL_2) != HAL_OK)
  {
    Error_Handler();
  }

}

static void MX_TIM3_Init(void)
{

  TIM_ClockConfigTypeDef sClockSourceConfig = {0};
  TIM_MasterConfigTypeDef sMasterConfig = {0};
  TIM_OC_InitTypeDef sConfigOC = {0};

  htim3.Instance = TIM3;
  htim3.Init.Prescaler = 108-1;
  htim3.Init.CounterMode = TIM_COUNTERMODE_UP;
  htim3.Init.Period = 1000-1;
  htim3.Init.ClockDivision = TIM_CLOCKDIVISION_DIV1;
  htim3.Init.AutoReloadPreload = TIM_AUTORELOAD_PRELOAD_DISABLE;
  if (HAL_TIM_Base_Init(&htim3) != HAL_OK)
  {
    Error_Handler();
  }
  sClockSourceConfig.ClockSource = TIM_CLOCKSOURCE_INTERNAL;
  if (HAL_TIM_ConfigClockSource(&htim3, &sClockSourceConfig) != HAL_OK)
  {
    Error_Handler();
  }
  if (HAL_TIM_PWM_Init(&htim3) != HAL_OK)
  {
    Error_Handler();
  }
  sMasterConfig.MasterOutputTrigger = TIM_TRGO_RESET;
  sMasterConfig.MasterSlaveMode = TIM_MASTERSLAVEMODE_DISABLE;
  if (HAL_TIMEx_MasterConfigSynchronization(&htim3, &sMasterConfig) != HAL_OK)
  {
    Error_Handler();
  }
  sConfigOC.OCMode = TIM_OCMODE_PWM1;
  sConfigOC.Pulse = 400;
  sConfigOC.OCPolarity = TIM_OCPOLARITY_HIGH;
  sConfigOC.OCFastMode = TIM_OCFAST_DISABLE;
  if (HAL_TIM_PWM_ConfigChannel(&htim3, &sConfigOC, TIM_CHANNEL_1) != HAL_OK)
  {
    Error_Handler();
  }
  HAL_TIM_MspPostInit(&htim3);

}

static void MX_TIM5_Init(void)
{

  TIM_ClockConfigTypeDef sClockSourceConfig = {0};
  TIM_MasterConfigTypeDef sMasterConfig = {0};

  htim5.Instance = TIM5;
  htim5.Init.Prescaler = 10800-1;
  htim5.Init.CounterMode = TIM_COUNTERMODE_UP;
  htim5.Init.Period = 10000 * 2;
  htim5.Init.ClockDivision = TIM_CLOCKDIVISION_DIV1;
  htim5.Init.AutoReloadPreload = TIM_AUTORELOAD_PRELOAD_DISABLE;
  if (HAL_TIM_Base_Init(&htim5) != HAL_OK)
  {
    Error_Handler();
  }
  sClockSourceConfig.ClockSource = TIM_CLOCKSOURCE_INTERNAL;
  if (HAL_TIM_ConfigClockSource(&htim5, &sClockSourceConfig) != HAL_OK)
  {
    Error_Handler();
  }
  sMasterConfig.MasterOutputTrigger = TIM_TRGO_RESET;
  sMasterConfig.MasterSlaveMode = TIM_MASTERSLAVEMODE_DISABLE;
  if (HAL_TIMEx_MasterConfigSynchronization(&htim5, &sMasterConfig) != HAL_OK)
  {
    Error_Handler();
  }

}

static void MX_TIM10_Init(void)
{

  TIM_IC_InitTypeDef sConfigIC = {0};

  htim10.Instance = TIM10;
  htim10.Init.Prescaler = 108-1;
  htim10.Init.CounterMode = TIM_COUNTERMODE_UP;
  htim10.Init.Period = 1000-1;
  htim10.Init.ClockDivision = TIM_CLOCKDIVISION_DIV1;
  htim10.Init.AutoReloadPreload = TIM_AUTORELOAD_PRELOAD_DISABLE;
  if (HAL_TIM_Base_Init(&htim10) != HAL_OK)
  {
    Error_Handler();
  }
  if (HAL_TIM_IC_Init(&htim10) != HAL_OK)
  {
    Error_Handler();
  }
  sConfigIC.ICPolarity = TIM_INPUTCHANNELPOLARITY_FALLING;
  sConfigIC.ICSelection = TIM_ICSELECTION_DIRECTTI;
  sConfigIC.ICPrescaler = TIM_ICPSC_DIV1;
  sConfigIC.ICFilter = 0;
  if (HAL_TIM_IC_ConfigChannel(&htim10, &sConfigIC, TIM_CHANNEL_1) != HAL_OK)
  {
    Error_Handler();
  }

}

static void MX_TIM11_Init(void)
{

  htim11.Instance = TIM11;
  htim11.Init.Prescaler = 0;
  htim11.Init.CounterMode = TIM_COUNTERMODE_UP;
  htim11.Init.Period = 0;
  htim11.Init.ClockDivision = TIM_CLOCKDIVISION_DIV1;
  htim11.Init.AutoReloadPreload = TIM_AUTORELOAD_PRELOAD_DISABLE;
  if (HAL_TIM_Base_Init(&htim11) != HAL_OK)
  {
    Error_Handler();
  }

}

static void MX_TIM12_Init(void)
{

  TIM_ClockConfigTypeDef sClockSourceConfig = {0};
  TIM_OC_InitTypeDef sConfigOC = {0};

  htim12.Instance = TIM12;
  htim12.Init.Prescaler = 108-1;
  htim12.Init.CounterMode = TIM_COUNTERMODE_UP;
  htim12.Init.Period = 1000-1;
  htim12.Init.ClockDivision = TIM_CLOCKDIVISION_DIV1;
  htim12.Init.AutoReloadPreload = TIM_AUTORELOAD_PRELOAD_DISABLE;
  if (HAL_TIM_Base_Init(&htim12) != HAL_OK)
  {
    Error_Handler();
  }
  sClockSourceConfig.ClockSource = TIM_CLOCKSOURCE_INTERNAL;
  if (HAL_TIM_ConfigClockSource(&htim12, &sClockSourceConfig) != HAL_OK)
  {
    Error_Handler();
  }
  if (HAL_TIM_PWM_Init(&htim12) != HAL_OK)
  {
    Error_Handler();
  }
  sConfigOC.OCMode = TIM_OCMODE_PWM1;
  sConfigOC.Pulse = 0;
  sConfigOC.OCPolarity = TIM_OCPOLARITY_HIGH;
  sConfigOC.OCFastMode = TIM_OCFAST_DISABLE;
  if (HAL_TIM_PWM_ConfigChannel(&htim12, &sConfigOC, TIM_CHANNEL_1) != HAL_OK)
  {
    Error_Handler();
  }
  if (HAL_TIM_PWM_ConfigChannel(&htim12, &sConfigOC, TIM_CHANNEL_2) != HAL_OK)
  {
    Error_Handler();
  }
  HAL_TIM_MspPostInit(&htim12);

}

static void MX_GPIO_Init(void)
{
  GPIO_InitTypeDef GPIO_InitStruct = {0};

  /* GPIO Ports Clock Enable */
  __HAL_RCC_GPIOB_CLK_ENABLE();
  __HAL_RCC_GPIOA_CLK_ENABLE();
  __HAL_RCC_GPIOG_CLK_ENABLE();
  __HAL_RCC_GPIOK_CLK_ENABLE();
  __HAL_RCC_GPIOI_CLK_ENABLE();
  __HAL_RCC_GPIOJ_CLK_ENABLE();
  __HAL_RCC_GPIOH_CLK_ENABLE();
  __HAL_RCC_GPIOF_CLK_ENABLE();

  /*Configure GPIO pin Output Level */
  HAL_GPIO_WritePin(GPIOG, GPIO_PIN_13, GPIO_PIN_RESET);

  /*Configure GPIO pin Output Level */
  HAL_GPIO_WritePin(GPIOK, GPIO_PIN_3, GPIO_PIN_SET);

  /*Configure GPIO pin Output Level */
  HAL_GPIO_WritePin(GPIOI, GPIO_PIN_12, GPIO_PIN_SET);

  /*Configure GPIO pin Output Level */
  HAL_GPIO_WritePin(GPIOF, GPIO_PIN_8, GPIO_PIN_SET);

  /*Configure GPIO pin : PG13 */
  GPIO_InitStruct.Pin = GPIO_PIN_13;
  GPIO_InitStruct.Mode = GPIO_MODE_OUTPUT_PP;
  GPIO_InitStruct.Pull = GPIO_NOPULL;
  GPIO_InitStruct.Speed = GPIO_SPEED_FREQ_LOW;
  HAL_GPIO_Init(GPIOG, &GPIO_InitStruct);

  /*Configure GPIO pin : PK3 */
  GPIO_InitStruct.Pin = GPIO_PIN_3;
  GPIO_InitStruct.Mode = GPIO_MODE_OUTPUT_PP;
  GPIO_InitStruct.Pull = GPIO_NOPULL;
  GPIO_InitStruct.Speed = GPIO_SPEED_FREQ_LOW;
  HAL_GPIO_Init(GPIOK, &GPIO_InitStruct);

  /*Configure GPIO pin : PI12 */
  GPIO_InitStruct.Pin = GPIO_PIN_12;
  GPIO_InitStruct.Mode = GPIO_MODE_OUTPUT_PP;
  GPIO_InitStruct.Pull = GPIO_NOPULL;
  GPIO_InitStruct.Speed = GPIO_SPEED_FREQ_LOW;
  HAL_GPIO_Init(GPIOI, &GPIO_InitStruct);

  /*Configure GPIO pin : PF8 */
  GPIO_InitStruct.Pin = GPIO_PIN_8;
  GPIO_InitStruct.Mode = GPIO_MODE_OUTPUT_PP;
  GPIO_InitStruct.Pull = GPIO_PULLUP;
  GPIO_InitStruct.Speed = GPIO_SPEED_FREQ_LOW;
  HAL_GPIO_Init(GPIOF, &GPIO_InitStruct);

}

void Error_Handler(void)
{
}

/************************ (C) COPYRIGHT STMicroelectronics *****END OF FILE****/
